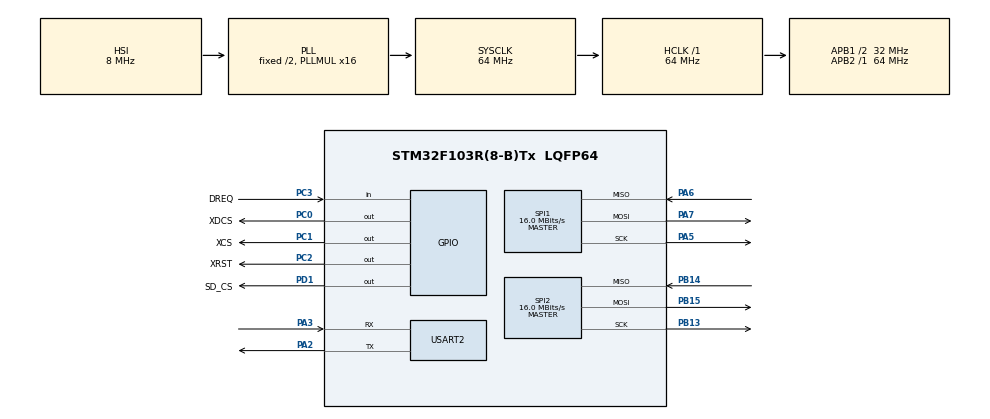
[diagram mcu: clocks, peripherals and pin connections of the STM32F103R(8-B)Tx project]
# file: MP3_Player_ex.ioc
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FATFS._MAX_SS=4096
FATFS._USE_LFN=1
Mcu.Family=STM32F1
Mcu.Name=STM32F103R(8-B)Tx
Mcu.Package=LQFP64
NVIC.PriorityGroup=NVIC_PRIORITYGROUP_4
NVIC.USART2_IRQn=true\:0\:0\:false\:false\:true\:true\:true\:true
PA13.Mode=Serial_Wire
PA13.Signal=SYS_JTMS-SWDIO
PA14.Mode=Serial_Wire
PA14.Signal=SYS_JTCK-SWCLK
PA2.Mode=Asynchronous
PA2.Signal=USART2_TX
PA3.Mode=Asynchronous
PA3.Signal=USART2_RX
PA5.Mode=Full_Duplex_Master
PA5.Signal=SPI1_SCK
PA6.Mode=Full_Duplex_Master
PA6.Signal=SPI1_MISO
PA7.Mode=Full_Duplex_Master
PA7.Signal=SPI1_MOSI
PB13.Mode=Full_Duplex_Master
PB13.Signal=SPI2_SCK
PB14.Mode=Full_Duplex_Master
PB14.Signal=SPI2_MISO
PB15.Mode=Full_Duplex_Master
PB15.Signal=SPI2_MOSI
PC0.GPIO_Label=XDCS
PC0.Signal=GPIO_Output
PC1.GPIO_Label=XCS
PC1.Signal=GPIO_Output
PC2.GPIO_Label=XRST
PC2.Signal=GPIO_Output
PC3.GPIO_Label=DREQ
PC3.GPIO_PuPd=GPIO_PULLUP
PC3.Signal=GPIO_Input
PD1-OSC_OUT.GPIO_Label=SD_CS
PD1-OSC_OUT.Signal=GPIO_Output
ProjectManager.HeapSize=0x200
ProjectManager.StackSize=0x400
ProjectManager.TargetToolchain=CMake
RCC.AHBFreq_Value=64000000
RCC.APB1CLKDivider=RCC_HCLK_DIV2
RCC.APB1Freq_Value=32000000
RCC.APB1TimFreq_Value=64000000
RCC.APB2Freq_Value=64000000
RCC.APB2TimFreq_Value=64000000
RCC.HCLKFreq_Value=64000000
RCC.PLLMUL=RCC_PLL_MUL16
RCC.SYSCLKFreq_VALUE=64000000
RCC.SYSCLKSource=RCC_SYSCLKSOURCE_PLLCLK
RCC.USBFreq_Value=64000000
SPI1.BaudRatePrescaler=SPI_BAUDRATEPRESCALER_4
SPI1.CalculateBaudRate=16.0 MBits/s
SPI1.Direction=SPI_DIRECTION_2LINES
SPI1.Mode=SPI_MODE_MASTER
SPI1.VirtualType=VM_MASTER
SPI2.CalculateBaudRate=16.0 MBits/s
SPI2.Direction=SPI_DIRECTION_2LINES
SPI2.Mode=SPI_MODE_MASTER
SPI2.VirtualType=VM_MASTER
USART2.VirtualMode=VM_ASYNC
VP_FATFS_VS_Generic.Mode=User_defined
board=custom

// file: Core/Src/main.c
/* USER CODE BEGIN Header */
/**
 ******************************************************************************
 * @file           : main.c
 * @brief          : Main program body
 ******************************************************************************
 * @attention
 *
 * Copyright (c) 2025 STMicroelectronics.
 * All rights reserved.
 *
 * This software is licensed under terms that can be found in the LICENSE file
 * in the root directory of this software component.
 * If no LICENSE file comes with this software, it is provided AS-IS.
 *
 ******************************************************************************
 */
/* USER CODE END Header */
#include "main.h"
#include "fatfs.h"

/* USER CODE BEGIN Includes */
#include "stm32f1xx_hal.h"
#include "mp3_player.h"

/* USER CODE END Includes */

SPI_HandleTypeDef hspi1;
SPI_HandleTypeDef hspi2;

UART_HandleTypeDef huart2;

/* USER CODE BEGIN PV */
uint8_t SerialFlag = 0;
uint8_t SerialCmd = 0;

/* USER CODE END PV */

void SystemClock_Config(void);
static void MX_GPIO_Init(void);
static void MX_SPI1_Init(void);
static void MX_SPI2_Init(void);
static void MX_USART2_UART_Init(void);

/* USER CODE BEGIN 0 */
void HAL_UART_RxCpltCallback(UART_HandleTypeDef *huart)
{
  if (huart->Instance == USART2)
  {
    SerialFlag = 1;
    HAL_UART_Receive_IT(&huart2, &SerialCmd, 1);
  }
}

/* USER CODE END 0 */

int main(void)
{

  /* MCU Configuration--------------------------------------------------------*/

  /* Reset of all peripherals, Initializes the Flash interface and the Systick. */
  HAL_Init();

  /* Configure the system clock */
  SystemClock_Config();

  /* Initialize all configured peripherals */
  MX_GPIO_Init();
  MX_SPI1_Init();
  MX_SPI2_Init();
  MX_USART2_UART_Init();
  MX_FATFS_Init();
  /* USER CODE BEGIN 2 */
  if (!MP3_Init())
  {
    HAL_GPIO_WritePin(GPIOD, GPIO_PIN_14, GPIO_PIN_SET);
  }
  else
  {
    HAL_GPIO_WritePin(GPIOD, GPIO_PIN_12, GPIO_PIN_SET);
  }
  HAL_UART_Receive_IT(&huart2, &SerialCmd, 1);

  /* USER CODE END 2 */

  /* Infinite loop */
  while (1)
  {

    /* USER CODE BEGIN 3 */
    if (SerialFlag)
    {
      SerialFlag = 0;

      switch (SerialCmd)
      {
      case '1':
        MP3_Play("sonata13-1.mp3");
        break;
      case '2':
        MP3_Play("sonata14-1.mp3");
        break;
      case 'p':
      case 'P':
        isPlaying = !isPlaying;
        break;
      case 's':
      case 'S':
        MP3_Stop();
        break;
      default:
        break;
      }
    }

    MP3_Feeder();
  }
  /* USER CODE END 3 */
}

void SystemClock_Config(void)
{
  RCC_OscInitTypeDef RCC_OscInitStruct = {0};
  RCC_ClkInitTypeDef RCC_ClkInitStruct = {0};

  /** Initializes the RCC Oscillators according to the specified parameters
  * in the RCC_OscInitTypeDef structure.
  */
  RCC_OscInitStruct.OscillatorType = RCC_OSCILLATORTYPE_HSI;
  RCC_OscInitStruct.HSIState = RCC_HSI_ON;
  RCC_OscInitStruct.HSICalibrationValue = RCC_HSICALIBRATION_DEFAULT;
  RCC_OscInitStruct.PLL.PLLState = RCC_PLL_ON;
  RCC_OscInitStruct.PLL.PLLSource = RCC_PLLSOURCE_HSI_DIV2;
  RCC_OscInitStruct.PLL.PLLMUL = RCC_PLL_MUL16;
  if (HAL_RCC_OscConfig(&RCC_OscInitStruct) != HAL_OK)
  {
    Error_Handler();
  }

  /** Initializes the CPU, AHB and APB buses clocks
  */
  RCC_ClkInitStruct.ClockType = RCC_CLOCKTYPE_HCLK|RCC_CLOCKTYPE_SYSCLK
                              |RCC_CLOCKTYPE_PCLK1|RCC_CLOCKTYPE_PCLK2;
  RCC_ClkInitStruct.SYSCLKSource = RCC_SYSCLKSOURCE_PLLCLK;
  RCC_ClkInitStruct.AHBCLKDivider = RCC_SYSCLK_DIV1;
  RCC_ClkInitStruct.APB1CLKDivider = RCC_HCLK_DIV2;
  RCC_ClkInitStruct.APB2CLKDivider = RCC_HCLK_DIV1;

  if (HAL_RCC_ClockConfig(&RCC_ClkInitStruct, FLASH_LATENCY_2) != HAL_OK)
  {
    Error_Handler();
  }
}

static void MX_SPI1_Init(void)
{

  /* SPI1 parameter configuration*/
  hspi1.Instance = SPI1;
  hspi1.Init.Mode = SPI_MODE_MASTER;
  hspi1.Init.Direction = SPI_DIRECTION_2LINES;
  hspi1.Init.DataSize = SPI_DATASIZE_8BIT;
  hspi1.Init.CLKPolarity = SPI_POLARITY_LOW;
  hspi1.Init.CLKPhase = SPI_PHASE_1EDGE;
  hspi1.Init.NSS = SPI_NSS_SOFT;
  hspi1.Init.BaudRatePrescaler = SPI_BAUDRATEPRESCALER_4;
  hspi1.Init.FirstBit = SPI_FIRSTBIT_MSB;
  hspi1.Init.TIMode = SPI_TIMODE_DISABLE;
  hspi1.Init.CRCCalculation = SPI_CRCCALCULATION_DISABLE;
  hspi1.Init.CRCPolynomial = 10;
  if (HAL_SPI_Init(&hspi1) != HAL_OK)
  {
    Error_Handler();
  }

}

static void MX_SPI2_Init(void)
{

  /* SPI2 parameter configuration*/
  hspi2.Instance = SPI2;
  hspi2.Init.Mode = SPI_MODE_MASTER;
  hspi2.Init.Direction = SPI_DIRECTION_2LINES;
  hspi2.Init.DataSize = SPI_DATASIZE_8BIT;
  hspi2.Init.CLKPolarity = SPI_POLARITY_LOW;
  hspi2.Init.CLKPhase = SPI_PHASE_1EDGE;
  hspi2.Init.NSS = SPI_NSS_SOFT;
  hspi2.Init.BaudRatePrescaler = SPI_BAUDRATEPRESCALER_2;
  hspi2.Init.FirstBit = SPI_FIRSTBIT_MSB;
  hspi2.Init.TIMode = SPI_TIMODE_DISABLE;
  hspi2.Init.CRCCalculation = SPI_CRCCALCULATION_DISABLE;
  hspi2.Init.CRCPolynomial = 10;
  if (HAL_SPI_Init(&hspi2) != HAL_OK)
  {
    Error_Handler();
  }

}

static void MX_USART2_UART_Init(void)
{

  huart2.Instance = USART2;
  huart2.Init.BaudRate = 115200;
  huart2.Init.WordLength = UART_WORDLENGTH_8B;
  huart2.Init.StopBits = UART_STOPBITS_1;
  huart2.Init.Parity = UART_PARITY_NONE;
  huart2.Init.Mode = UART_MODE_TX_RX;
  huart2.Init.HwFlowCtl = UART_HWCONTROL_NONE;
  huart2.Init.OverSampling = UART_OVERSAMPLING_16;
  if (HAL_UART_Init(&huart2) != HAL_OK)
  {
    Error_Handler();
  }

}

static void MX_GPIO_Init(void)
{
  GPIO_InitTypeDef GPIO_InitStruct = {0};

  /* GPIO Ports Clock Enable */
  __HAL_RCC_GPIOD_CLK_ENABLE();
  __HAL_RCC_GPIOC_CLK_ENABLE();
  __HAL_RCC_GPIOA_CLK_ENABLE();
  __HAL_RCC_GPIOB_CLK_ENABLE();

  /*Configure GPIO pin Output Level */
  HAL_GPIO_WritePin(SD_CS_GPIO_Port, SD_CS_Pin, GPIO_PIN_RESET);

  /*Configure GPIO pin Output Level */
  HAL_GPIO_WritePin(GPIOC, XDCS_Pin|XCS_Pin|XRST_Pin, GPIO_PIN_RESET);

  /*Configure GPIO pin : SD_CS_Pin */
  GPIO_InitStruct.Pin = SD_CS_Pin;
  GPIO_InitStruct.Mode = GPIO_MODE_OUTPUT_PP;
  GPIO_InitStruct.Pull = GPIO_NOPULL;
  GPIO_InitStruct.Speed = GPIO_SPEED_FREQ_LOW;
  HAL_GPIO_Init(SD_CS_GPIO_Port, &GPIO_InitStruct);

  /*Configure GPIO pins : XDCS_Pin XCS_Pin XRST_Pin */
  GPIO_InitStruct.Pin = XDCS_Pin|XCS_Pin|XRST_Pin;
  GPIO_InitStruct.Mode = GPIO_MODE_OUTPUT_PP;
  GPIO_InitStruct.Pull = GPIO_NOPULL;
  GPIO_InitStruct.Speed = GPIO_SPEED_FREQ_LOW;
  HAL_GPIO_Init(GPIOC, &GPIO_InitStruct);

  /*Configure GPIO pin : DREQ_Pin */
  GPIO_InitStruct.Pin = DREQ_Pin;
  GPIO_InitStruct.Mode = GPIO_MODE_INPUT;
  GPIO_InitStruct.Pull = GPIO_PULLUP;
  HAL_GPIO_Init(DREQ_GPIO_Port, &GPIO_InitStruct);

  /*Configure peripheral I/O remapping */
  __HAL_AFIO_REMAP_PD01_ENABLE();

}

void Error_Handler(void)
{
  __disable_irq();
  while (1)
  {
  }
}
